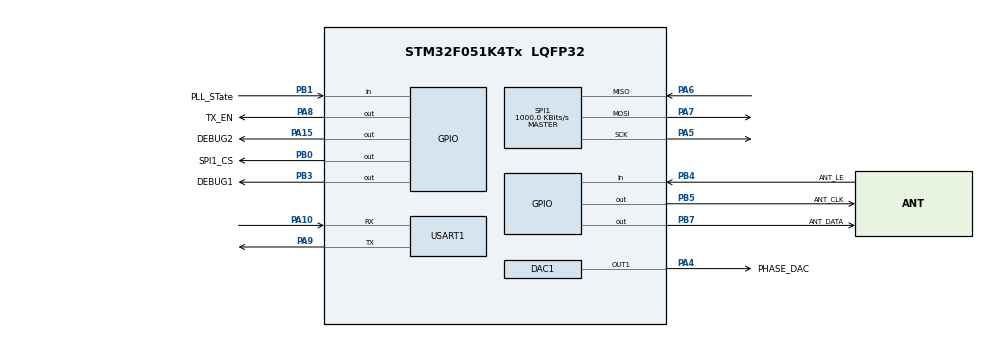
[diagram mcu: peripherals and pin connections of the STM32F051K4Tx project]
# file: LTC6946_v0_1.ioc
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Mcu.Family=STM32F0
PA6.Mode=Full_Duplex_Master
PA7.Mode=Full_Duplex_Master
PA10.Mode=Asynchronous
SPI1.VirtualType=VM_MASTER
PB0.GPIO_Label=SPI1_CS
ProjectManager.StackSize=0x400
USART1.VirtualMode-Asynchronous=VM_ASYNC
PA13.Signal=SYS_SWDIO
PA15.GPIO_Label=DEBUG2
PA9.Mode=Asynchronous
PA8.GPIO_Label=TX_EN
ProjectManager.TargetToolchain=MDK-ARM V5
SH.COMP_DAC11_group.0=DAC1_OUT1,DAC_OUT1
SPI1.Direction=SPI_DIRECTION_2LINES
PA9.Signal=USART1_TX
SPI1.CalculateBaudRate=1000.0 KBits/s
PA5.Signal=SPI1_SCK
board=LTC6946_v0_1
PA6.GPIO_PuPd=GPIO_NOPULL
PB4.GPIO_Label=ANT_LE
SPI1.Mode=SPI_MODE_MASTER
PA14.Mode=Serial_Wire
PB1.GPIO_Label=PLL_STate
SPI1.DataSize=SPI_DATASIZE_8BIT
PB7.Signal=GPIO_Output
PA8.Signal=GPIO_Output
PA13.Mode=Serial_Wire
Mcu.Name=STM32F051K4Tx
PB7.GPIO_Label=ANT_DATA
PB3.Signal=GPIO_Output
PA4.Signal=COMP_DAC11_group
Mcu.Package=LQFP32
PB5.Signal=GPIO_Output
PB1.Signal=GPIO_Input
PA6.Signal=SPI1_MISO
PA10.Signal=USART1_RX
PA14.Signal=SYS_SWCLK
PA15.Signal=GPIO_Output
ProjectManager.HeapSize=0x200
PB5.GPIO_Label=ANT_CLK
SPI1.BaudRatePrescaler=SPI_BAUDRATEPRESCALER_8
PB0.Signal=GPIO_Output
PA4.GPIO_Label=PHASE_DAC
PB4.Signal=GPIO_Input
PA7.Signal=SPI1_MOSI
PA5.Mode=Full_Duplex_Master
PB3.GPIO_Label=DEBUG1

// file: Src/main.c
/**
  ******************************************************************************
  * @file           : main.c
  * @brief          : Main program body
  ******************************************************************************
  ** This notice applies to any and all portions of this file
  * that are not between comment pairs USER CODE BEGIN and
  * USER CODE END. Other portions of this file, whether
  * inserted by the user or by software development tools
  * are owned by their respective copyright owners.
  *
  * COPYRIGHT(c) 2020 STMicroelectronics
  *
  * Redistribution and use in source and binary forms, with or without modification,
  * are permitted provided that the following conditions are met:
  *   1. Redistributions of source code must retain the above copyright notice,
  *      this list of conditions and the following disclaimer.
  *   2. Redistributions in binary form must reproduce the above copyright notice,
  *      this list of conditions and the following disclaimer in the documentation
  *      and/or other materials provided with the distribution.
  *   3. Neither the name of STMicroelectronics nor the names of its contributors
  *      may be used to endorse or promote products derived from this software
  *      without specific prior written permission.
  *
  * THIS SOFTWARE IS PROVIDED BY THE COPYRIGHT HOLDERS AND CONTRIBUTORS "AS IS"
  * AND ANY EXPRESS OR IMPLIED WARRANTIES, INCLUDING, BUT NOT LIMITED TO, THE
  * IMPLIED WARRANTIES OF MERCHANTABILITY AND FITNESS FOR A PARTICULAR PURPOSE ARE
  * DISCLAIMED. IN NO EVENT SHALL THE COPYRIGHT HOLDER OR CONTRIBUTORS BE LIABLE
  * FOR ANY DIRECT, INDIRECT, INCIDENTAL, SPECIAL, EXEMPLARY, OR CONSEQUENTIAL
  * DAMAGES (INCLUDING, BUT NOT LIMITED TO, PROCUREMENT OF SUBSTITUTE GOODS OR
  * SERVICES; LOSS OF USE, DATA, OR PROFITS; OR BUSINESS INTERRUPTION) HOWEVER
  * CAUSED AND ON ANY THEORY OF LIABILITY, WHETHER IN CONTRACT, STRICT LIABILITY,
  * OR TORT (INCLUDING NEGLIGENCE OR OTHERWISE) ARISING IN ANY WAY OUT OF THE USE
  * OF THIS SOFTWARE, EVEN IF ADVISED OF THE POSSIBILITY OF SUCH DAMAGE.
  *
  ******************************************************************************
  */
#include "main.h"
#include "stm32f0xx_hal.h"
#include "dac.h"
#include "spi.h"
#include "usart.h"
#include "gpio.h"

/* USER CODE BEGIN Includes */
#include "Handles.h"
#include "MC_DAT_15R5A.h"
#include "protocol.h"
#include "LTC6946.h"
#include "LT_SPI.h"
/* USER CODE END Includes */

/* USER CODE BEGIN PV */
/* Private variables ---------------------------------------------------------*/
uint32_t DAC_Value;
uint32_t temp1;
uint32_t temp2 ;
uint32_t temp3 ;
uint8_t UARTbuff[4];
uint8_t serial_RX = 0;
int pktType;
/* USER CODE END PV */

void SystemClock_Config(void);

/* USER CODE BEGIN PFP */
/* Private function prototypes -----------------------------------------------*/
int checkPacket(void);
void SetPhase(uint32_t buffer);
void SetPower(uint32_t buffer);
void WriteReg(uint32_t buffer);
void SetMute(uint32_t buffer);
void Board_init(void);

uint32_t Read_LTC6946Reg(uint8_t address);
uint32_t Write_LTC6946Reg(uint8_t address, uint8_t Reg1, uint8_t Reg2);
/* USER CODE END PFP */

int main(void)
{

  /* MCU Configuration----------------------------------------------------------*/

  /* Reset of all peripherals, Initializes the Flash interface and the Systick. */
  HAL_Init();

  /* Configure the system clock */
  SystemClock_Config();

  /* Initialize all configured peripherals */
  MX_GPIO_Init();
  MX_DAC1_Init();
  MX_SPI1_Init();
  MX_USART1_UART_Init();
  /* USER CODE BEGIN 2 */

HAL_GPIO_WritePin(DEBUG1_GPIO_Port, DEBUG1_Pin, GPIO_PIN_SET);

/* Initalise to 0V start the DAC */

	HAL_DAC_Start(&hdac1,DAC_CHANNEL_1);
	HAL_DAC_SetValue(&hdac1,DAC_CHANNEL_1,DAC_ALIGN_12B_R,0);
	 HAL_GPIO_WritePin(DEBUG1_GPIO_Port, DEBUG1_Pin, GPIO_PIN_RESET);

	// turn on LNA
	HAL_GPIO_WritePin(DEBUG2_GPIO_Port, DEBUG2_Pin, GPIO_PIN_SET);
	DAC_Value = 0;

// start a UART interrupt

	HAL_UART_Receive_IT(&huart1,UARTbuff,4);

Board_init();

  /* USER CODE END 2 */

  /* Infinite loop */
  /* USER CODE BEGIN WHILE */
  while (1)
  {

	if (serial_RX){

				serial_RX = 0;

				pktType = checkPacket();

	//			if (pktType > 0){
	//				HAL_GPIO_WritePin(TEST1_GPIO_PORT ,TEST1_GPIO_PIN,GPIO_PIN_SET);
	//				HAL_Delay(2);
	//				HAL_GPIO_WritePin(TEST1_GPIO_PORT ,TEST1_GPIO_PIN,GPIO_PIN_RESET);
	//			}
				// set up Interrupt again
				HAL_UART_Receive_IT(&huart1,UARTbuff,4);
			}

  /* USER CODE END WHILE */

  }

}

void SystemClock_Config(void)
{

  RCC_OscInitTypeDef RCC_OscInitStruct;
  RCC_ClkInitTypeDef RCC_ClkInitStruct;
  RCC_PeriphCLKInitTypeDef PeriphClkInit;

    /**Initializes the CPU, AHB and APB busses clocks
    */
  RCC_OscInitStruct.OscillatorType = RCC_OSCILLATORTYPE_HSI;
  RCC_OscInitStruct.HSIState = RCC_HSI_ON;
  RCC_OscInitStruct.HSICalibrationValue = 16;
  RCC_OscInitStruct.PLL.PLLState = RCC_PLL_NONE;
  if (HAL_RCC_OscConfig(&RCC_OscInitStruct) != HAL_OK)
  {
    _Error_Handler(__FILE__, __LINE__);
  }

    /**Initializes the CPU, AHB and APB busses clocks
    */
  RCC_ClkInitStruct.ClockType = RCC_CLOCKTYPE_HCLK|RCC_CLOCKTYPE_SYSCLK
                              |RCC_CLOCKTYPE_PCLK1;
  RCC_ClkInitStruct.SYSCLKSource = RCC_SYSCLKSOURCE_HSI;
  RCC_ClkInitStruct.AHBCLKDivider = RCC_SYSCLK_DIV1;
  RCC_ClkInitStruct.APB1CLKDivider = RCC_HCLK_DIV1;

  if (HAL_RCC_ClockConfig(&RCC_ClkInitStruct, FLASH_LATENCY_0) != HAL_OK)
  {
    _Error_Handler(__FILE__, __LINE__);
  }

  PeriphClkInit.PeriphClockSelection = RCC_PERIPHCLK_USART1;
  PeriphClkInit.Usart1ClockSelection = RCC_USART1CLKSOURCE_PCLK1;
  if (HAL_RCCEx_PeriphCLKConfig(&PeriphClkInit) != HAL_OK)
  {
    _Error_Handler(__FILE__, __LINE__);
  }

    /**Configure the Systick interrupt time
    */
  HAL_SYSTICK_Config(HAL_RCC_GetHCLKFreq()/1000);

    /**Configure the Systick
    */
  HAL_SYSTICK_CLKSourceConfig(SYSTICK_CLKSOURCE_HCLK);

  /* SysTick_IRQn interrupt configuration */
  HAL_NVIC_SetPriority(SysTick_IRQn, 0, 0);
}

/* USER CODE BEGIN 4 */
int checkPacket(void)
	{

// first check if it is valid packet and if not exit with error
//		1 wrong start value
//		2 wrong end value
//		3 wrong NODE

				uint32_t buffer;

			buffer = UARTbuff[0] | UARTbuff[1] << 8 | UARTbuff[2] << 16 | UARTbuff[3] << 24;

			if ((buffer & startMask)  != startVal)
			{
				// invalid packet
				return(1);
			}

			if ((buffer & endMask) !=  endVal)
			{
				// invalid packet
				return(2);
			}

			 temp1 = buffer & nodeMask;
			temp2 = NODE << nodeLoc;

			if (((buffer & nodeMask)  !=  (NODE << nodeLoc)) && (buffer & nodeMask)  !=  0 )
			{
				temp3 = temp1 + temp2;
				// wrong node do nothing
				return(3);
			}
			temp3 = temp1 + temp1;

			// Read Register
				if ((buffer & funcLowMask) ==  RegReadPKT ){
					return(4);
				}

			// Write Register
				if ((buffer & funcLowMask) ==  RegWritePKT ){
					WriteReg(buffer);
					return(4);
				}

				// function packet
				if ((buffer & funcLowMask) ==  funPKT ){
					// this is a function packet but which one

					// check for initalisation packet
					if ((buffer & funcHighMask) ==  initalisePKT )
					{
						Board_init();

						return(5);
					}

					// check for packet to change phase
					if ((buffer & funcHighMask) ==  phasePKT )
					{
						//adjustPhase
						SetPhase(buffer);
						return(6);
					}

					// check for attenuation packet
					if ((buffer & funcHighMask) ==  powerPKT)
					{
						// convert 32 bit number to 8 bit
						SetPower(buffer);

						return(7);
					}
					// check for attenuation packet
					if ((buffer & funcHighMask) ==  mutePKT)
					{
						// convert 32 bit number to 8 bit
						SetMute(buffer);

						return(7);
					}

				} else {
					return(4);
				}

			return(0);
		}

void SetPower(uint32_t buffer){
	uint8_t Power;
	uint32_t temp;

	temp = buffer & valueMask;
	temp = temp >> valueLoc;
	Power = 	temp & 0x1F;
	SetAttenuator(Power);

}

void SetMute(uint32_t buffer){
	uint8_t Power;
	uint32_t temp;

	temp = buffer & valueMask;
	temp = temp >> valueLoc;
	Power = 	temp & 0x1F;
	if (Power > 0) {
		HAL_GPIO_WritePin(DEBUG2_GPIO_Port, DEBUG2_Pin, GPIO_PIN_SET);
	}
	else
	{
		HAL_GPIO_WritePin(DEBUG2_GPIO_Port, DEBUG2_Pin, GPIO_PIN_RESET);
	}

}

void SetPhase(uint32_t buffer){

	uint32_t DACCode;
	DACCode = buffer & valueMask;
	DACCode  = DACCode >> valueLoc;
	HAL_DAC_SetValue(&hdac1,DAC_CHANNEL_1,DAC_ALIGN_12B_R,DACCode);
}

uint32_t Read_LTC6946Reg(uint8_t address){
	return(2);
}

void WriteReg(uint32_t buffer){

	uint8_t tx[3], rx[3];
	uint8_t address, Reg1, Reg2;

	address  = buffer & funcHighMask >> funcHighLoc;
	Reg1 = (buffer & valueMask >> valueLoc) & 0x0F;
	Reg1 = (buffer & valueMask >> (valueLoc +8)) & 0x0F ;

	tx[0] = address << 1;
	tx[1] = Reg1;
	tx[2] = Reg2;
	spi_transfer_block(tx,rx,3);

}

uint32_t Write_LTC6946Reg(uint8_t address, uint8_t Reg1, uint8_t Reg2){

	uint8_t tx[3], rx[3];
	tx[0] = address << 1;
	tx[1] = Reg1;
	tx[2] = Reg2;
	spi_transfer_block(tx,rx,3);

	return(0);
}

void Board_init(){

	SetPhase(0);
	SetAttenuator(ATTN_0DBM);
	LTC6946_init();
	LTC6946_initRegs();

}

void HAL_UART_RxCpltCallback(UART_HandleTypeDef *huart){

	serial_RX = 1;

}

/* USER CODE END 4 */

void _Error_Handler(char *file, int line)
{
  while(1)
  {
  }
}

/************************ (C) COPYRIGHT STMicroelectronics *****END OF FILE****/
